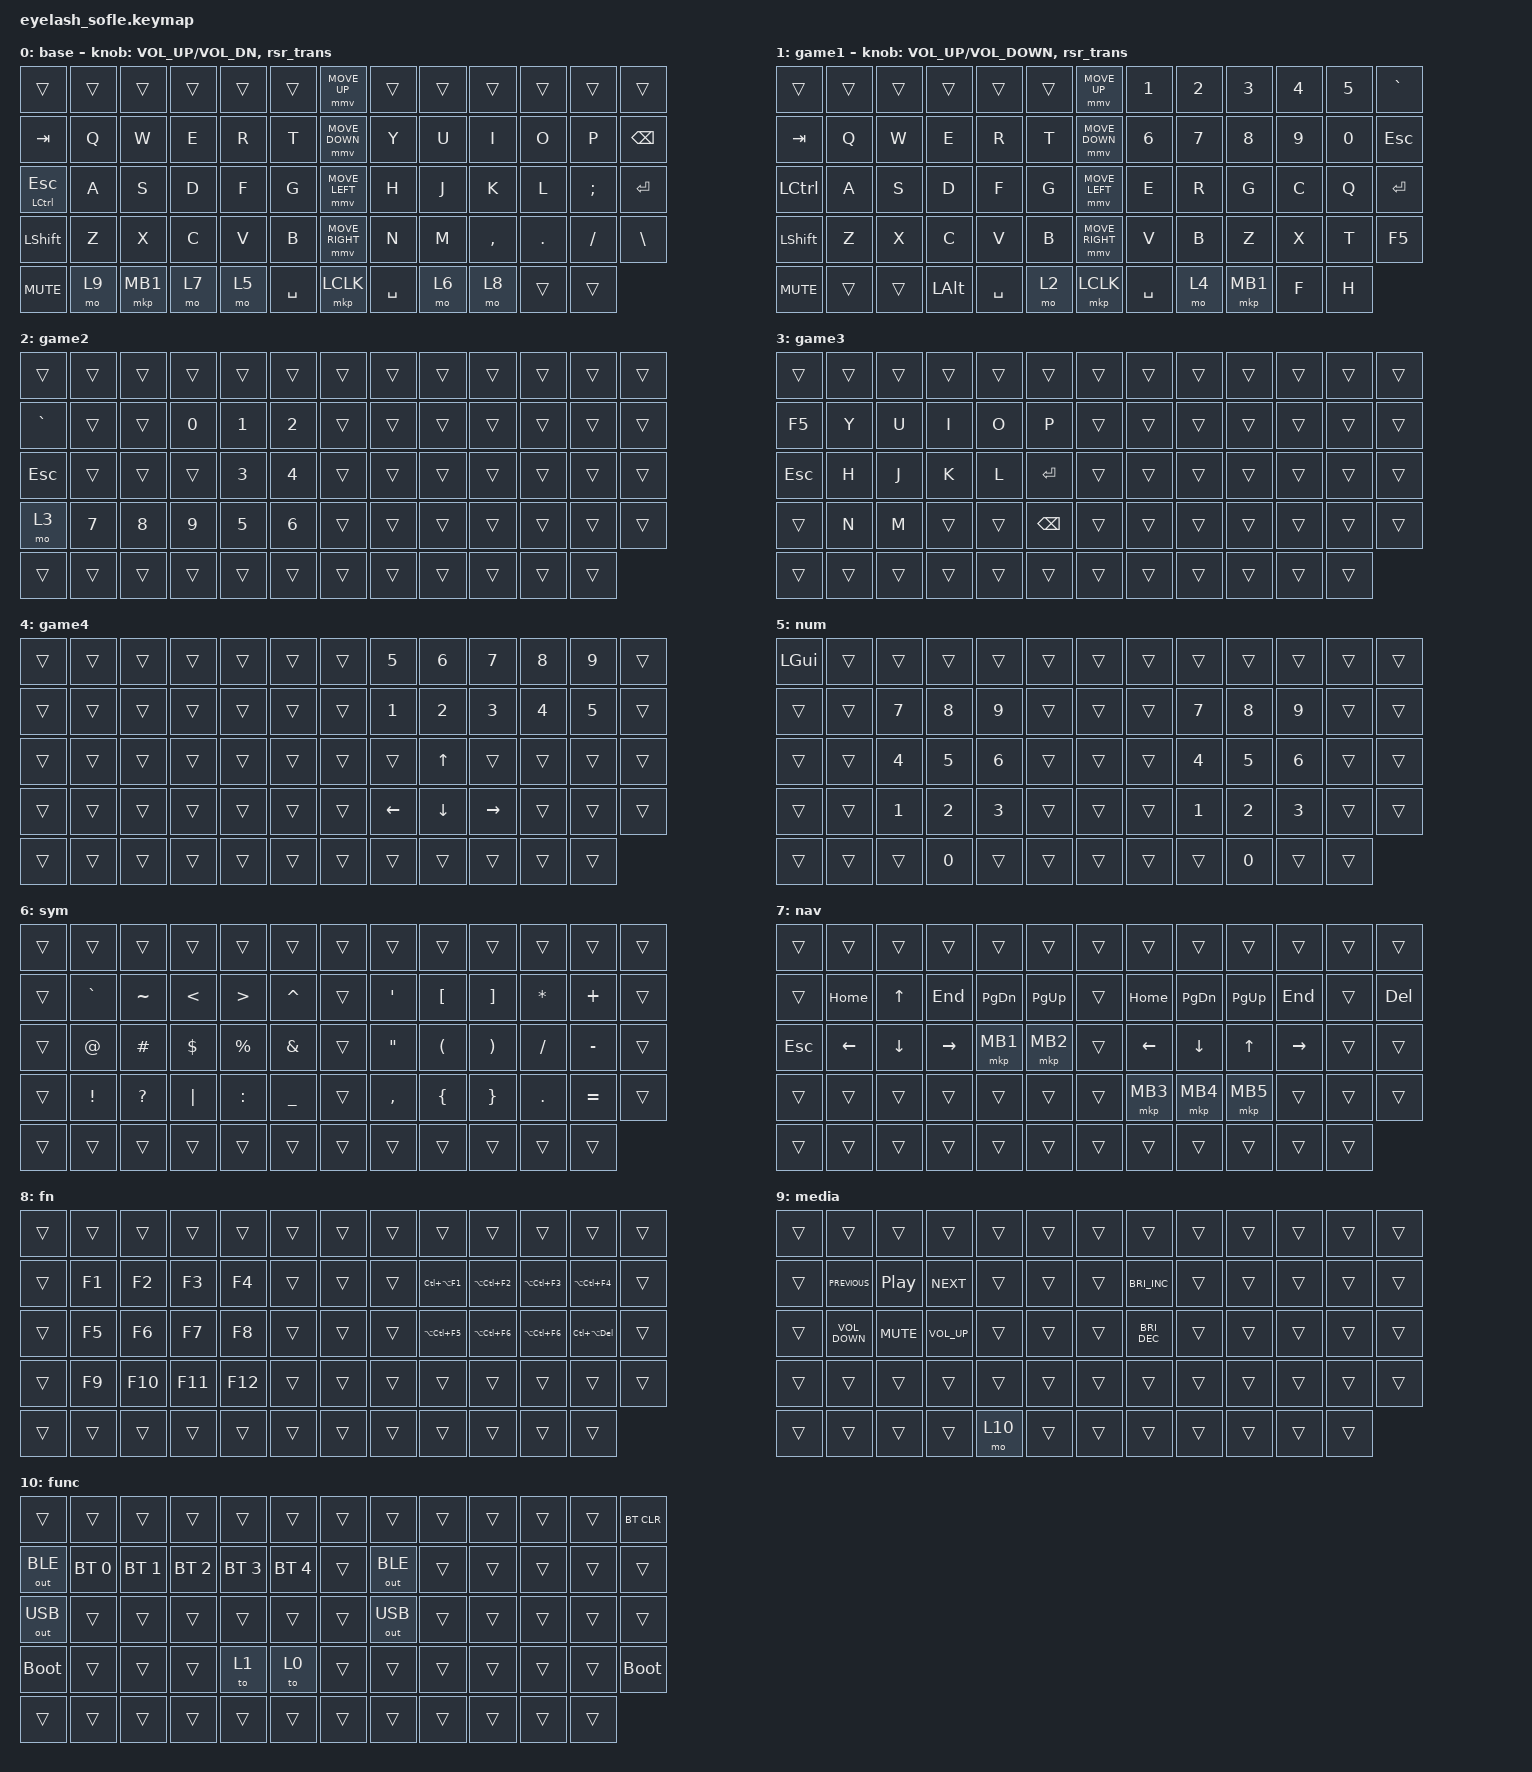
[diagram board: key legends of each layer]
#define ZMK_POINTING_DEFAULT_MOVE_VAL 1200  // 600
#define ZMK_POINTING_DEFAULT_SCRL_VAL 25   // 10

#include <input/processors.dtsi>
#include <zephyr/dt-bindings/input/input-event-codes.h>
#include <behaviors/runtime-sensor-rotate.dtsi>
#include <behaviors.dtsi>
#include <dt-bindings/zmk/bt.h>
#include <dt-bindings/zmk/keys.h>
#include <dt-bindings/zmk/outputs.h>
#include <dt-bindings/zmk/pointing.h>

&mmv_input_listener { input-processors = <&zip_xy_scaler 2 1>; };

&msc_input_listener { input-processors = <&zip_scroll_scaler 2 1>; };

&msc {
    acceleration-exponent = <1>;      // 0
    time-to-max-speed-ms = <100>;       // 300
    delay-ms = <0>;                   // 0
};

&mmv {
    time-to-max-speed-ms = <500>;
    acceleration-exponent = <1>;
    trigger-period-ms = <16>;
};

&soft_off { hold-time-ms = <2000>; };

/ {
    scroll_encoder: scroll_encoder {
        compatible = "zmk,behavior-sensor-rotate";
        #sensor-binding-cells = <0>;
        bindings = <&msc SCRL_DOWN>, <&msc SCRL_UP>;

        tap-ms = <100>;
    };

    behaviors {
        rsr_vol: rsr_vol {
            compatible = "zmk,behavior-runtime-sensor-rotate";
            #sensor-binding-cells = <0>;
            tap-ms = <5>;
            cw-binding = <&kp C_VOL_UP>;
            ccw-binding = <&kp C_VOL_DN>;
        };

        rsr_trans: rsr_trans {
            compatible = "zmk,behavior-runtime-sensor-rotate";
            #sensor-binding-cells = <0>;
            tap-ms = <0>;
        };
    };

    combos {
        compatible = "zmk,combos";

        softoff {
            bindings = <&soft_off>;
            key-positions = <14 28 40>;
        };
    };

    macros {
        SHIFT_MCLK: SHIFT_MCLK {
            compatible = "zmk,behavior-macro";
            #binding-cells = <0>;
            bindings =
                <&macro_press>,
                <&kp LEFT_SHIFT>,
                <&macro_press>,
                <&mkp MB3>,
                <&macro_pause_for_release>,
                <&macro_release>,
                <&kp LEFT_SHIFT &mkp MB3>;

            label = "SHIFT_MCLK";
        };
    };

    keymap {
        compatible = "zmk,keymap";

        base {
            bindings = <
&trans            &trans  &trans    &trans  &trans  &trans       &mmv MOVE_UP     &trans     &trans  &trans     &trans   &trans    &trans
&kp TAB           &kp Q   &kp W     &kp E   &kp R   &kp T        &mmv MOVE_DOWN   &kp Y      &kp U   &kp I      &kp O    &kp P     &kp BSPC
&mt LCTRL ESCAPE  &kp A   &kp S     &kp D   &kp F   &kp G        &mmv MOVE_LEFT   &kp H      &kp J   &kp K      &kp L    &kp SEMI  &kp RET
&kp LSHFT         &kp Z   &kp X     &kp C   &kp V   &kp B        &mmv MOVE_RIGHT  &kp N      &kp M   &kp COMMA  &kp DOT  &kp FSLH  &kp BSLH
&kp C_MUTE        &mo 9   &mkp MB1  &mo 7   &mo 5   &kp SPACE    &mkp LCLK        &kp SPACE  &mo 6   &mo 8      &trans   &trans
            >;

            display-name = "base";
            sensor-bindings = <&inc_dec_kp C_VOLUME_UP C_VOL_DN>, <&rsr_trans>;
        };

        game1 {
            bindings = <
&trans      &trans  &trans  &trans        &trans     &trans    &mmv MOVE_UP     &kp NUMBER_1  &kp NUMBER_2  &kp NUMBER_3  &kp NUMBER_4  &kp NUMBER_5  &kp GRAVE
&kp TAB     &kp Q   &kp W   &kp E         &kp R      &kp T     &mmv MOVE_DOWN   &kp NUMBER_6  &kp NUMBER_7  &kp NUMBER_8  &kp NUMBER_9  &kp NUMBER_0  &kp ESC
&kp LCTRL   &kp A   &kp S   &kp D         &kp F      &kp G     &mmv MOVE_LEFT   &kp E         &kp R         &kp G         &kp C         &kp Q         &kp RET
&kp LSHFT   &kp Z   &kp X   &kp C         &kp V      &kp B     &mmv MOVE_RIGHT  &kp V         &kp B         &kp Z         &kp X         &kp T         &kp F5
&kp C_MUTE  &trans  &trans  &kp LEFT_ALT  &kp SPACE  &mo 2     &mkp LCLK        &kp SPACE     &mo 4         &mkp MB1      &kp F         &kp H
            >;

            display-name = "game1";
            sensor-bindings =
                <&inc_dec_kp C_VOLUME_UP C_VOLUME_DOWN>,
                <&rsr_trans>;
        };

        game2 {
            bindings = <
&trans      &trans        &trans        &trans        &trans        &trans          &trans  &trans  &trans  &trans  &trans  &trans  &trans
&kp GRAVE   &trans        &trans        &kp NUMBER_0  &kp NUMBER_1  &kp NUMBER_2    &trans  &trans  &trans  &trans  &trans  &trans  &trans
&kp ESCAPE  &trans        &trans        &trans        &kp NUMBER_3  &kp NUMBER_4    &trans  &trans  &trans  &trans  &trans  &trans  &trans
&mo 3       &kp NUMBER_7  &kp NUMBER_8  &kp NUMBER_9  &kp NUMBER_5  &kp NUMBER_6    &trans  &trans  &trans  &trans  &trans  &trans  &trans
&trans      &trans        &trans        &trans        &trans        &trans          &trans  &trans  &trans  &trans  &trans  &trans
            >;

            label = "game2";
        };

        game3 {
            bindings = <
&trans      &trans  &trans  &trans  &trans  &trans      &trans  &trans  &trans  &trans  &trans  &trans  &trans
&kp F5      &kp Y   &kp U   &kp I   &kp O   &kp P       &trans  &trans  &trans  &trans  &trans  &trans  &trans
&kp ESCAPE  &kp H   &kp J   &kp K   &kp L   &kp RET     &trans  &trans  &trans  &trans  &trans  &trans  &trans
&trans      &kp N   &kp M   &trans  &trans  &kp BSPC    &trans  &trans  &trans  &trans  &trans  &trans  &trans
&trans      &trans  &trans  &trans  &trans  &trans      &trans  &trans  &trans  &trans  &trans  &trans
            >;

            label = "game3";
        };

        game4 {
            bindings = <
&trans  &trans  &trans  &trans  &trans  &trans    &trans  &kp N5    &kp N6          &kp N7     &kp N8  &kp N9  &trans
&trans  &trans  &trans  &trans  &trans  &trans    &trans  &kp N1    &kp N2          &kp N3     &kp N4  &kp N5  &trans
&trans  &trans  &trans  &trans  &trans  &trans    &trans  &trans    &kp UP          &trans     &trans  &trans  &trans
&trans  &trans  &trans  &trans  &trans  &trans    &trans  &kp LEFT  &kp DOWN_ARROW  &kp RIGHT  &trans  &trans  &trans
&trans  &trans  &trans  &trans  &trans  &trans    &trans  &trans    &trans          &trans     &trans  &trans
            >;

            label = "game4";
        };

        num {
            bindings = <
&kp LGUI  &trans  &trans  &trans  &trans  &trans    &trans  &trans  &trans  &trans  &trans  &trans  &trans
&trans    &trans  &kp N7  &kp N8  &kp N9  &trans    &trans  &trans  &kp N7  &kp N8  &kp N9  &trans  &trans
&trans    &trans  &kp N4  &kp N5  &kp N6  &trans    &trans  &trans  &kp N4  &kp N5  &kp N6  &trans  &trans
&trans    &trans  &kp N1  &kp N2  &kp N3  &trans    &trans  &trans  &kp N1  &kp N2  &kp N3  &trans  &trans
&trans    &trans  &trans  &kp N0  &trans  &trans    &trans  &trans  &trans  &kp N0  &trans  &trans
            >;

            label = "num";
        };

        sym {
            bindings = <
&trans  &trans           &trans        &trans         &trans            &trans            &trans  &trans             &trans                &trans                 &trans        &trans     &trans
&trans  &kp GRAVE        &kp TILDE     &kp LESS_THAN  &kp GREATER_THAN  &kp CARET         &trans  &kp SQT            &kp LEFT_BRACKET      &kp RIGHT_BRACKET      &kp ASTERISK  &kp PLUS   &trans
&trans  &kp AT_SIGN      &kp HASH      &kp DOLLAR     &kp PERCENT       &kp AMPERSAND     &trans  &kp DOUBLE_QUOTES  &kp LEFT_PARENTHESIS  &kp RIGHT_PARENTHESIS  &kp SLASH     &kp MINUS  &trans
&trans  &kp EXCLAMATION  &kp QUESTION  &kp PIPE       &kp COLON         &kp UNDERSCORE    &trans  &kp COMMA          &kp LEFT_BRACE        &kp RIGHT_BRACE        &kp DOT       &kp EQUAL  &trans
&trans  &trans           &trans        &trans         &trans            &trans            &trans  &trans             &trans                &trans                 &trans        &trans
            >;

            label = "sym";
        };

        nav {
            bindings = <
&trans      &trans    &trans    &trans     &trans     &trans       &trans  &trans    &trans     &trans     &trans     &trans  &trans
&trans      &kp HOME  &kp UP    &kp END    &kp PG_DN  &kp PG_UP    &trans  &kp HOME  &kp PG_DN  &kp PG_UP  &kp END    &trans  &kp DEL
&kp ESCAPE  &kp LEFT  &kp DOWN  &kp RIGHT  &mkp MB1   &mkp MB2     &trans  &kp LEFT  &kp DOWN   &kp UP     &kp RIGHT  &trans  &trans
&trans      &trans    &trans    &trans     &trans     &trans       &trans  &mkp MB3  &mkp MB4   &mkp MB5   &trans     &trans  &trans
&trans      &trans    &trans    &trans     &trans     &trans       &trans  &trans    &trans     &trans     &trans     &trans
            >;

            label = "nav";
        };

        fn {
            bindings = <
&trans  &trans  &trans   &trans   &trans   &trans    &trans  &trans  &trans          &trans          &trans          &trans              &trans
&trans  &kp F1  &kp F2   &kp F3   &kp F4   &trans    &trans  &trans  &kp LC(LA(F1))  &kp LA(LC(F2))  &kp LA(LC(F3))  &kp LA(LC(F4))      &trans
&trans  &kp F5  &kp F6   &kp F7   &kp F8   &trans    &trans  &trans  &kp LA(LC(F5))  &kp LA(LC(F6))  &kp LA(LC(F6))  &kp LC(LA(DELETE))  &trans
&trans  &kp F9  &kp F10  &kp F11  &kp F12  &trans    &trans  &trans  &trans          &trans          &trans          &trans              &trans
&trans  &trans  &trans   &trans   &trans   &trans    &trans  &trans  &trans          &trans          &trans          &trans
            >;

            label = "fn";
        };

        media {
            bindings = <
&trans  &trans             &trans            &trans           &trans  &trans    &trans  &trans                &trans  &trans  &trans  &trans  &trans
&trans  &kp C_PREVIOUS     &kp C_PLAY_PAUSE  &kp C_NEXT       &trans  &trans    &trans  &kp C_BRIGHTNESS_INC  &trans  &trans  &trans  &trans  &trans
&trans  &kp C_VOLUME_DOWN  &kp C_MUTE        &kp C_VOLUME_UP  &trans  &trans    &trans  &kp C_BRIGHTNESS_DEC  &trans  &trans  &trans  &trans  &trans
&trans  &trans             &trans            &trans           &trans  &trans    &trans  &trans                &trans  &trans  &trans  &trans  &trans
&trans  &trans             &trans            &trans           &mo 10  &trans    &trans  &trans                &trans  &trans  &trans  &trans
            >;

            label = "media";
        };

        func {
            bindings = <
&trans        &trans        &trans        &trans        &trans        &trans          &trans  &trans        &trans  &trans  &trans  &trans  &bt BT_CLR
&out OUT_BLE  &bt BT_SEL 0  &bt BT_SEL 1  &bt BT_SEL 2  &bt BT_SEL 3  &bt BT_SEL 4    &trans  &out OUT_BLE  &trans  &trans  &trans  &trans  &trans
&out OUT_USB  &trans        &trans        &trans        &trans        &trans          &trans  &out OUT_USB  &trans  &trans  &trans  &trans  &trans
&bootloader   &trans        &trans        &trans        &to 1         &to 0           &trans  &trans        &trans  &trans  &trans  &trans  &bootloader
&trans        &trans        &trans        &trans        &trans        &trans          &trans  &trans        &trans  &trans  &trans  &trans
            >;

            label = "func";
        };
    };
};
